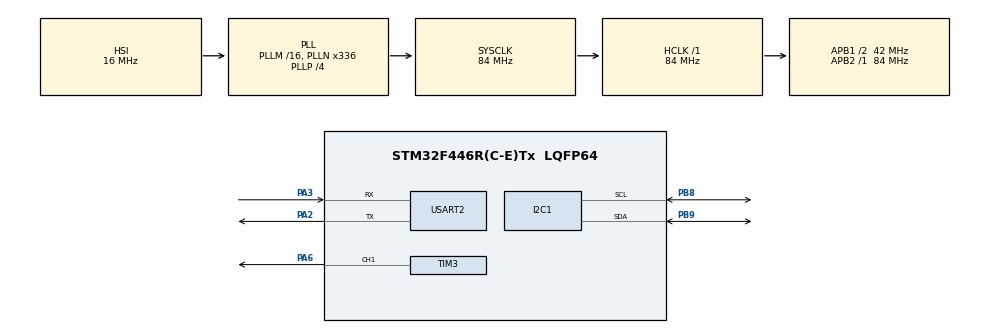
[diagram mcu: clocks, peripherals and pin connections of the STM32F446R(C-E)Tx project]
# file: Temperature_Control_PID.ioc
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Mcu.Family=STM32F4
Mcu.Name=STM32F446R(C-E)Tx
Mcu.Package=LQFP64
NVIC.PriorityGroup=NVIC_PRIORITYGROUP_0
NVIC.USART2_IRQn=true\:0\:0\:false\:false\:true\:true\:true\:true
PA13.Mode=Serial_Wire
PA13.Signal=SYS_JTMS-SWDIO
PA14.Mode=Serial_Wire
PA14.Signal=SYS_JTCK-SWCLK
PA2.Mode=Asynchronous
PA2.Signal=USART2_TX
PA3.Mode=Asynchronous
PA3.Signal=USART2_RX
PA6.Signal=S_TIM3_CH1
PB8.Mode=I2C
PB8.Signal=I2C1_SCL
PB9.Mode=I2C
PB9.Signal=I2C1_SDA
ProjectManager.HeapSize=0x200
ProjectManager.StackSize=0x400
ProjectManager.TargetToolchain=STM32CubeIDE
RCC.48MHZClocksFreq_Value=84000000
RCC.AHBFreq_Value=84000000
RCC.APB1CLKDivider=RCC_HCLK_DIV2
RCC.APB1Freq_Value=42000000
RCC.APB1TimFreq_Value=84000000
RCC.APB2Freq_Value=84000000
RCC.APB2TimFreq_Value=84000000
RCC.CortexFreq_Value=84000000
RCC.FLatency-AdvancedSettings=FLASH_LATENCY_2
RCC.HCLKFreq_Value=84000000
RCC.HSE_VALUE=8000000
RCC.HSI_VALUE=16000000
RCC.PLLN=336
RCC.PLLP=RCC_PLLP_DIV4
RCC.SYSCLKFreq_VALUE=84000000
RCC.SYSCLKSource=RCC_SYSCLKSOURCE_PLLCLK
RCC.USBFreq_Value=168000000
RCC.VCOOutputFreq_Value=336000000
SH.S_TIM3_CH1.0=TIM3_CH1,PWM Generation1 CH1
TIM3.Channel-PWM\ Generation1\ CH1=TIM_CHANNEL_1
TIM3.Period=20000-1
TIM3.Prescaler=84-1
TIM3.Pulse-PWM\ Generation1\ CH1=0
USART2.VirtualMode=VM_ASYNC
board=NUCLEO-F446RE

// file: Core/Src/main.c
/* USER CODE BEGIN Header */
/**
 ******************************************************************************
 * @file           : main.c
 * @brief          : Main program body
 ******************************************************************************
 * @attention
 *
 * Copyright (c) 2026 STMicroelectronics.
 * All rights reserved.
 *
 * This software is licensed under terms that can be found in the LICENSE file
 * in the root directory of this software component.
 * If no LICENSE file comes with this software, it is provided AS-IS.
 *
 ******************************************************************************
 */
/* USER CODE END Header */
#include "main.h"

/* USER CODE BEGIN Includes */
#include "logger.h"
#include "menu.h"
#include "bme280.h"
#include "pid.h"
#include "pid_autotuner.h"
#include "pid_flash_storage.h"
#include <stdio.h>
#include <string.h>
#include <stdlib.h>
/* USER CODE END Includes */

/* USER CODE BEGIN PTD */
typedef enum {
	TEMPERATURE_CONTROL_HEATING = 0, TEMPERATURE_CONTROL_COOLING
} TemperatureControlMode_t;

typedef enum {
	SYSTEM_MODE_STOPPED = 0, SYSTEM_MODE_PID_CONTROL, SYSTEM_MODE_AUTOTUNE
} SystemMode_t;

typedef enum {
	PID_FLASH_ACTION_NONE = 0,
	PID_FLASH_ACTION_SAVE,
	PID_FLASH_ACTION_LOAD,
	PID_FLASH_ACTION_GET,
	PID_FLASH_ACTION_CLEAR
} PendingPIDFlashAction_t;
/* USER CODE END PTD */

/* USER CODE BEGIN PD */
#define TX_BUFFER_SIZE              256
#define RX_BUFFER_SIZE              96

#define CONTROL_PERIOD_MS           1000U

#define DEFAULT_SETPOINT_C          25.0f
#define DEFAULT_KP                  8.0f
#define DEFAULT_KI                  0.05f
#define DEFAULT_KD                  0.0f

#define PID_MIN_OUTPUT              0.0f
#define PID_MAX_OUTPUT              100.0f

#define AUTOTUNE_DEFAULT_CYCLES     6U
#define AUTOTUNE_MIN_CYCLES         3U
#define AUTOTUNE_MAX_CYCLES         30U
#define AUTOTUNE_DEFAULT_MIN_OUTPUT 0.0f
#define AUTOTUNE_DEFAULT_MAX_OUTPUT 100.0f
#define AUTOTUNE_TIMEOUT_MS         600000U
#define AUTOTUNE_MAX_SAFE_TEMP_C    80.0f

#define BME280_DEVICE_ADDRESS       BME280_I2C_ADDR_GND

#define FAN_PWM_TIMER               htim3
#define FAN_PWM_CHANNEL             TIM_CHANNEL_1

#define CMD_SETPOINT_LONG           "SETPOINT:"
#define CMD_SETPOINT_SHORT          "SET_SP:"

#define CMD_KP_LONG                 "KP:"
#define CMD_KP_SHORT                "SET_KP:"

#define CMD_KI_LONG                 "KI:"
#define CMD_KI_SHORT                "SET_KI:"

#define CMD_KD_LONG                 "KD:"
#define CMD_KD_SHORT                "SET_KD:"

#define CMD_START                   "START"
#define CMD_STOP                    "STOP"

#define CMD_MODE_COOLING            "MODE:COOLING"
#define CMD_MODE_HEATING            "MODE:HEATING"

#define CMD_AUTOTUNE_START          "AUTOTUNE_START"
#define CMD_AUTOTUNE_STOP           "AUTOTUNE_STOP"
#define CMD_AUTOTUNE_MODE_BASIC     "AUTOTUNE_MODE:BASIC"
#define CMD_AUTOTUNE_MODE_LESS      "AUTOTUNE_MODE:LESS_OVERSHOOT"
#define CMD_AUTOTUNE_MODE_NO        "AUTOTUNE_MODE:NO_OVERSHOOT"
#define CMD_AUTOTUNE_CYCLES         "AUTOTUNE_CYCLES:"
#define CMD_AUTOTUNE_MIN_OUTPUT     "AUTOTUNE_MIN_OUTPUT:"
#define CMD_AUTOTUNE_MAX_OUTPUT     "AUTOTUNE_MAX_OUTPUT:"

#define CMD_PID_FLASH_SAVE          "SAVE_PID_FLASH"
#define CMD_PID_FLASH_LOAD          "LOAD_PID_FLASH"
#define CMD_PID_FLASH_GET           "GET_PID_FLASH"
#define CMD_PID_FLASH_CLEAR         "CLEAR_PID_FLASH"

/* USER CODE END PD */

I2C_HandleTypeDef hi2c1;

TIM_HandleTypeDef htim3;

UART_HandleTypeDef huart2;

/* USER CODE BEGIN PV */
PID_Controller_t pid;
PIDAutotuner_t pidAutotuner;

BME280_Handle_t bme280;
BME280_Config_t bme280Config;
BME280_Data_t bme280Data;
BME280_Status_t bme280Status;

TemperatureControlMode_t controlMode = TEMPERATURE_CONTROL_COOLING;
SystemMode_t systemMode = SYSTEM_MODE_STOPPED;

PIDAutotuner_ZNMode_t autotuneZNMode = PID_AUTOTUNER_ZN_NO_OVERSHOOT;
uint16_t autotuneTargetCycles = AUTOTUNE_DEFAULT_CYCLES;
float autotuneMinOutput = AUTOTUNE_DEFAULT_MIN_OUTPUT;
float autotuneMaxOutput = AUTOTUNE_DEFAULT_MAX_OUTPUT;
uint32_t autotuneStartTime = 0U;

float temperatureSetPoint = DEFAULT_SETPOINT_C;

float temperature = 0.0f;
float humidity = 0.0f;
float pressure = 0.0f;

char uartTXBuffer[TX_BUFFER_SIZE];

uint8_t rxChar;
char messageBuffer[RX_BUFFER_SIZE];
uint8_t bufferIndex = 0;

volatile uint8_t pidEnabled = 0;
volatile PendingPIDFlashAction_t pendingPIDFlashAction = PID_FLASH_ACTION_NONE;
/* USER CODE END PV */

void SystemClock_Config(void);
static void MX_GPIO_Init(void);
static void MX_USART2_UART_Init(void);
static void MX_I2C1_Init(void);
static void MX_TIM3_Init(void);
/* USER CODE BEGIN PFP */
static void ApplyTemperatureSetPoint(void);
static float GetPIDInputFromTemperature(float measuredTemperature);
static float GetAutotuneInputFromTemperature(float measuredTemperature);
static float GetAutotuneTargetFromSetPoint(void);
static const char* GetControlModeString(void);
static const char* GetAutotuneModeString(void);
static void SetFanPWMPercent(float percent);
static void StartAutotune(void);
static void StopAutotune(void);
static void ApplyAutotuneGainsToPID(void);
static PIDFlashStorage_Mode_t GetFlashStorageModeFromControlMode(void);
static void FillPIDFlashConfigFromCurrentSettings(
		PIDFlashStorage_Config_t *config);
static void ApplyPIDFlashConfigToController(
		const PIDFlashStorage_Config_t *config);
static void RequestPIDFlashAction(PendingPIDFlashAction_t action);
static void ProcessPendingPIDFlashAction(void);
static void SendPIDFlashConfig(const char *state,
		const PIDFlashStorage_Config_t *config);
static void SendPIDFlashStatus(const char *state,
		PIDFlashStorage_Status_t status);
static void SendTelemetry(void);
static void SendAutotuneStatus(void);
static void SendAutotuneDone(void);
static void SendAutotuneStopped(const char *reason);
static void ClearUARTBuffer(void);
static void ProcessUARTCommand(char *command);
/* USER CODE END PFP */

/* USER CODE BEGIN 0 */

static void ApplyTemperatureSetPoint(void) {
	if (controlMode == TEMPERATURE_CONTROL_COOLING) {
		PID_SetPoint(&pid, -temperatureSetPoint);
	} else {
		PID_SetPoint(&pid, temperatureSetPoint);
	}
}

static float GetPIDInputFromTemperature(float measuredTemperature) {
	if (controlMode == TEMPERATURE_CONTROL_COOLING) {
		return -measuredTemperature;
	}

	return measuredTemperature;
}

static float GetAutotuneInputFromTemperature(float measuredTemperature) {
	return GetPIDInputFromTemperature(measuredTemperature);
}

static float GetAutotuneTargetFromSetPoint(void) {
	if (controlMode == TEMPERATURE_CONTROL_COOLING) {
		return -temperatureSetPoint;
	}

	return temperatureSetPoint;
}

static const char* GetControlModeString(void) {
	if (controlMode == TEMPERATURE_CONTROL_COOLING) {
		return "COOLING";
	}

	return "HEATING";
}

static const char* GetAutotuneModeString(void) {
	switch (autotuneZNMode) {
	case PID_AUTOTUNER_ZN_BASIC_PID:
		return "BASIC";

	case PID_AUTOTUNER_ZN_LESS_OVERSHOOT:
		return "LESS_OVERSHOOT";

	case PID_AUTOTUNER_ZN_NO_OVERSHOOT:
	default:
		return "NO_OVERSHOOT";
	}
}

static void SetFanPWMPercent(float percent) {
	if (percent > 100.0f) {
		percent = 100.0f;
	}

	if (percent < 0.0f) {
		percent = 0.0f;
	}

	uint32_t arr = __HAL_TIM_GET_AUTORELOAD(&FAN_PWM_TIMER);
	uint32_t compare = (uint32_t) ((percent / 100.0f) * (float) (arr + 1U));

	if (compare > arr) {
		compare = arr;
	}

	__HAL_TIM_SET_COMPARE(&FAN_PWM_TIMER, FAN_PWM_CHANNEL, compare);
}

static void StartAutotune(void) {
	PIDAutotuner_Status_t autotuneStatus;

	autotuneStatus = PIDAutotuner_Init(&pidAutotuner, autotuneZNMode,
			GetAutotuneTargetFromSetPoint(), autotuneMinOutput,
			autotuneMaxOutput, autotuneTargetCycles,
			(float) CONTROL_PERIOD_MS / 1000.0f);

	if (autotuneStatus != PID_AUTOTUNER_OK) {
		systemMode = SYSTEM_MODE_STOPPED;
		pidEnabled = 0;
		pid.output = 0.0f;
		SetFanPWMPercent(0.0f);
		return;
	}

	pidEnabled = 0;
	systemMode = SYSTEM_MODE_AUTOTUNE;
	PID_Reset(&pid);

	autotuneStartTime = HAL_GetTick();
	PIDAutotuner_Start(&pidAutotuner, autotuneStartTime);

	pid.output = pidAutotuner.outputValue;
	SetFanPWMPercent(pid.output);
}

static void StopAutotune(void) {
	PIDAutotuner_Stop(&pidAutotuner);
	systemMode = SYSTEM_MODE_STOPPED;
	pidEnabled = 0;
	pid.output = 0.0f;
	SetFanPWMPercent(0.0f);
}

static void ApplyAutotuneGainsToPID(void) {
	float tunedKp = PIDAutotuner_GetKp(&pidAutotuner);
	float tunedKi = PIDAutotuner_GetKi(&pidAutotuner);
	float tunedKd = PIDAutotuner_GetKd(&pidAutotuner);

	PID_SetKp(&pid, tunedKp);
	PID_SetKi(&pid, tunedKi);
	PID_SetKd(&pid, tunedKd);
	PID_Reset(&pid);
	ApplyTemperatureSetPoint();
}

static PIDFlashStorage_Mode_t GetFlashStorageModeFromControlMode(void) {
	if (controlMode == TEMPERATURE_CONTROL_COOLING) {
		return PID_FLASH_STORAGE_MODE_COOLING;
	}

	return PID_FLASH_STORAGE_MODE_HEATING;
}

static void FillPIDFlashConfigFromCurrentSettings(
		PIDFlashStorage_Config_t *config) {
	if (config == 0) {
		return;
	}

	config->kp = PID_GetKp(&pid);
	config->ki = PID_GetKi(&pid);
	config->kd = PID_GetKd(&pid);
	config->setpoint = temperatureSetPoint;
	config->mode = (uint32_t) GetFlashStorageModeFromControlMode();
}

static void ApplyPIDFlashConfigToController(
		const PIDFlashStorage_Config_t *config) {
	if (config == 0) {
		return;
	}

	PID_SetKp(&pid, config->kp);
	PID_SetKi(&pid, config->ki);
	PID_SetKd(&pid, config->kd);
	temperatureSetPoint = config->setpoint;

	if (config->mode == PID_FLASH_STORAGE_MODE_COOLING) {
		controlMode = TEMPERATURE_CONTROL_COOLING;
	} else {
		controlMode = TEMPERATURE_CONTROL_HEATING;
	}

	ApplyTemperatureSetPoint();
	PID_Reset(&pid);
}

static void RequestPIDFlashAction(PendingPIDFlashAction_t action) {
	if (pendingPIDFlashAction == PID_FLASH_ACTION_NONE) {
		pendingPIDFlashAction = action;
	}
}

static void SendPIDFlashConfig(const char *state,
		const PIDFlashStorage_Config_t *config) {
	const char *modeString = "HEATING";

	if (config == 0) {
		return;
	}

	if (config->mode == PID_FLASH_STORAGE_MODE_COOLING) {
		modeString = "COOLING";
	}

	snprintf(uartTXBuffer, sizeof(uartTXBuffer),
			"SavedPID: %s Kp: %.6f Ki: %.6f Kd: %.6f SetPoint: %.2f Mode: %s\r\n",
			state, config->kp, config->ki, config->kd, config->setpoint,
			modeString);

	HAL_UART_Transmit(&huart2, (uint8_t*) uartTXBuffer, strlen(uartTXBuffer),
	HAL_MAX_DELAY);
}

static void SendPIDFlashStatus(const char *state,
		PIDFlashStorage_Status_t status) {
	snprintf(uartTXBuffer, sizeof(uartTXBuffer), "SavedPID: %s Status: %s\r\n",
			state, PIDFlashStorage_StatusToString(status));

	HAL_UART_Transmit(&huart2, (uint8_t*) uartTXBuffer, strlen(uartTXBuffer),
	HAL_MAX_DELAY);
}

static void ProcessPendingPIDFlashAction(void) {
	PendingPIDFlashAction_t action = pendingPIDFlashAction;
	PIDFlashStorage_Config_t config;
	PIDFlashStorage_Status_t status;

	if (action == PID_FLASH_ACTION_NONE) {
		return;
	}

	pendingPIDFlashAction = PID_FLASH_ACTION_NONE;

	if ((systemMode == SYSTEM_MODE_AUTOTUNE)
			&& (action != PID_FLASH_ACTION_GET)) {
		snprintf(uartTXBuffer, sizeof(uartTXBuffer),
				"SavedPID: BUSY Reason: AUTOTUNE_RUNNING\r\n");
		HAL_UART_Transmit(&huart2, (uint8_t*) uartTXBuffer,
				strlen(uartTXBuffer),
				HAL_MAX_DELAY);
		return;
	}

	switch (action) {
	case PID_FLASH_ACTION_SAVE:
		FillPIDFlashConfigFromCurrentSettings(&config);
		status = PIDFlashStorage_Save(&config);

		if (status == PID_FLASH_STORAGE_OK) {
			SendPIDFlashConfig("SAVE_OK", &config);
		} else {
			SendPIDFlashStatus("SAVE_ERROR", status);
		}
		break;

	case PID_FLASH_ACTION_LOAD:
		status = PIDFlashStorage_Load(&config);

		if (status == PID_FLASH_STORAGE_OK) {
			ApplyPIDFlashConfigToController(&config);
			SendPIDFlashConfig("LOAD_OK", &config);
		} else if (status == PID_FLASH_STORAGE_EMPTY) {
			SendPIDFlashStatus("EMPTY", status);
		} else {
			SendPIDFlashStatus("LOAD_ERROR", status);
		}
		break;

	case PID_FLASH_ACTION_GET:
		status = PIDFlashStorage_Load(&config);

		if (status == PID_FLASH_STORAGE_OK) {
			SendPIDFlashConfig("VALID", &config);
		} else if (status == PID_FLASH_STORAGE_EMPTY) {
			SendPIDFlashStatus("EMPTY", status);
		} else {
			SendPIDFlashStatus("INVALID", status);
		}
		break;

	case PID_FLASH_ACTION_CLEAR:
		status = PIDFlashStorage_Clear();

		if (status == PID_FLASH_STORAGE_OK) {
			SendPIDFlashStatus("CLEAR_OK", status);
		} else {
			SendPIDFlashStatus("CLEAR_ERROR", status);
		}
		break;

	case PID_FLASH_ACTION_NONE:
	default:
		break;
	}
}

static void SendTelemetry(void) {
	snprintf(uartTXBuffer, sizeof(uartTXBuffer),
			"SetPoint: %.2f Temperature: %.2f PIDOutput: %.2f Humidity: %.2f Pressure: %.2f Mode: %s\r\n",
			temperatureSetPoint, temperature, pid.output, humidity, pressure,
			GetControlModeString());

	HAL_UART_Transmit(&huart2, (uint8_t*) uartTXBuffer, strlen(uartTXBuffer),
	HAL_MAX_DELAY);
}

static void SendAutotuneStatus(void) {
	snprintf(uartTXBuffer, sizeof(uartTXBuffer),
			"Autotune: RUNNING Cycle: %u TargetCycles: %u Temperature: %.2f Output: %.2f Ku: %.6f Tu: %.3f Mode: %s Rule: %s\r\n",
			PIDAutotuner_GetCycleIndex(&pidAutotuner),
			PIDAutotuner_GetTargetCycles(&pidAutotuner), temperature,
			pid.output, PIDAutotuner_GetKu(&pidAutotuner),
			PIDAutotuner_GetTu(&pidAutotuner), GetControlModeString(),
			GetAutotuneModeString());

	HAL_UART_Transmit(&huart2, (uint8_t*) uartTXBuffer, strlen(uartTXBuffer),
	HAL_MAX_DELAY);
}

static void SendAutotuneDone(void) {
	snprintf(uartTXBuffer, sizeof(uartTXBuffer),
			"Autotune: DONE Kp: %.6f Ki: %.6f Kd: %.6f Ku: %.6f Tu: %.3f Rule: %s\r\n",
			PIDAutotuner_GetKp(&pidAutotuner),
			PIDAutotuner_GetKi(&pidAutotuner),
			PIDAutotuner_GetKd(&pidAutotuner),
			PIDAutotuner_GetKu(&pidAutotuner),
			PIDAutotuner_GetTu(&pidAutotuner), GetAutotuneModeString());

	HAL_UART_Transmit(&huart2, (uint8_t*) uartTXBuffer, strlen(uartTXBuffer),
	HAL_MAX_DELAY);
}

static void SendAutotuneStopped(const char *reason) {
	snprintf(uartTXBuffer, sizeof(uartTXBuffer),
			"Autotune: STOPPED Reason: %s\r\n", reason);

	HAL_UART_Transmit(&huart2, (uint8_t*) uartTXBuffer, strlen(uartTXBuffer),
	HAL_MAX_DELAY);
}

static void ClearUARTBuffer(void) {
	bufferIndex = 0;
	memset(messageBuffer, 0, RX_BUFFER_SIZE);
}

static void ProcessUARTCommand(char *command) {
	if (strncmp(command, CMD_SETPOINT_LONG, strlen(CMD_SETPOINT_LONG)) == 0) {
		temperatureSetPoint = atof(command + strlen(CMD_SETPOINT_LONG));
		ApplyTemperatureSetPoint();
		PID_Reset(&pid);
	} else if (strncmp(command, CMD_SETPOINT_SHORT, strlen(CMD_SETPOINT_SHORT))
			== 0) {
		temperatureSetPoint = atof(command + strlen(CMD_SETPOINT_SHORT));
		ApplyTemperatureSetPoint();
		PID_Reset(&pid);
	} else if (strncmp(command, CMD_KP_LONG, strlen(CMD_KP_LONG)) == 0) {
		float userKp = atof(command + strlen(CMD_KP_LONG));
		PID_SetKp(&pid, userKp);
		PID_Reset(&pid);
	} else if (strncmp(command, CMD_KP_SHORT, strlen(CMD_KP_SHORT)) == 0) {
		float userKp = atof(command + strlen(CMD_KP_SHORT));
		PID_SetKp(&pid, userKp);
		PID_Reset(&pid);
	} else if (strncmp(command, CMD_KI_LONG, strlen(CMD_KI_LONG)) == 0) {
		float userKi = atof(command + strlen(CMD_KI_LONG));
		PID_SetKi(&pid, userKi);
		PID_Reset(&pid);
	} else if (strncmp(command, CMD_KI_SHORT, strlen(CMD_KI_SHORT)) == 0) {
		float userKi = atof(command + strlen(CMD_KI_SHORT));
		PID_SetKi(&pid, userKi);
		PID_Reset(&pid);
	} else if (strncmp(command, CMD_KD_LONG, strlen(CMD_KD_LONG)) == 0) {
		float userKd = atof(command + strlen(CMD_KD_LONG));
		PID_SetKd(&pid, userKd);
		PID_Reset(&pid);
	} else if (strncmp(command, CMD_KD_SHORT, strlen(CMD_KD_SHORT)) == 0) {
		float userKd = atof(command + strlen(CMD_KD_SHORT));
		PID_SetKd(&pid, userKd);
		PID_Reset(&pid);
	} else if (strcmp(command, CMD_MODE_COOLING) == 0) {
		if (systemMode == SYSTEM_MODE_AUTOTUNE) {
			StopAutotune();
		}

		controlMode = TEMPERATURE_CONTROL_COOLING;
		ApplyTemperatureSetPoint();
		PID_Reset(&pid);
	} else if (strcmp(command, CMD_MODE_HEATING) == 0) {
		if (systemMode == SYSTEM_MODE_AUTOTUNE) {
			StopAutotune();
		}

		controlMode = TEMPERATURE_CONTROL_HEATING;
		ApplyTemperatureSetPoint();
		PID_Reset(&pid);
	} else if (strcmp(command, CMD_START) == 0) {
		if (systemMode == SYSTEM_MODE_AUTOTUNE) {
			StopAutotune();
		}

		systemMode = SYSTEM_MODE_PID_CONTROL;
		pidEnabled = 1;
		PID_Reset(&pid);
	} else if (strcmp(command, CMD_STOP) == 0) {
		if (systemMode == SYSTEM_MODE_AUTOTUNE) {
			StopAutotune();
		}

		systemMode = SYSTEM_MODE_STOPPED;
		pidEnabled = 0;
		pid.output = 0.0f;
		SetFanPWMPercent(0.0f);
	} else if (strcmp(command, CMD_AUTOTUNE_MODE_BASIC) == 0) {
		autotuneZNMode = PID_AUTOTUNER_ZN_BASIC_PID;
	} else if (strcmp(command, CMD_AUTOTUNE_MODE_LESS) == 0) {
		autotuneZNMode = PID_AUTOTUNER_ZN_LESS_OVERSHOOT;
	} else if (strcmp(command, CMD_AUTOTUNE_MODE_NO) == 0) {
		autotuneZNMode = PID_AUTOTUNER_ZN_NO_OVERSHOOT;
	} else if (strncmp(command, CMD_AUTOTUNE_CYCLES,
			strlen(CMD_AUTOTUNE_CYCLES)) == 0) {
		uint16_t cycles = (uint16_t) atoi(
				command + strlen(CMD_AUTOTUNE_CYCLES));

		if (cycles < AUTOTUNE_MIN_CYCLES) {
			cycles = AUTOTUNE_MIN_CYCLES;
		} else if (cycles > AUTOTUNE_MAX_CYCLES) {
			cycles = AUTOTUNE_MAX_CYCLES;
		}

		autotuneTargetCycles = cycles;
	} else if (strncmp(command, CMD_AUTOTUNE_MIN_OUTPUT,
			strlen(CMD_AUTOTUNE_MIN_OUTPUT)) == 0) {
		float minOutput = atof(command + strlen(CMD_AUTOTUNE_MIN_OUTPUT));

		if (minOutput >= 0.0f && minOutput < autotuneMaxOutput) {
			autotuneMinOutput = minOutput;
		}
	} else if (strncmp(command, CMD_AUTOTUNE_MAX_OUTPUT,
			strlen(CMD_AUTOTUNE_MAX_OUTPUT)) == 0) {
		float maxOutput = atof(command + strlen(CMD_AUTOTUNE_MAX_OUTPUT));

		if (maxOutput <= 100.0f && maxOutput > autotuneMinOutput) {
			autotuneMaxOutput = maxOutput;
		}
	} else if (strcmp(command, CMD_AUTOTUNE_START) == 0) {
		StartAutotune();
	} else if (strcmp(command, CMD_AUTOTUNE_STOP) == 0) {
		StopAutotune();
	} else if (strcmp(command, CMD_PID_FLASH_SAVE) == 0) {
		RequestPIDFlashAction(PID_FLASH_ACTION_SAVE);
	} else if (strcmp(command, CMD_PID_FLASH_LOAD) == 0) {
		RequestPIDFlashAction(PID_FLASH_ACTION_LOAD);
	} else if (strcmp(command, CMD_PID_FLASH_GET) == 0) {
		RequestPIDFlashAction(PID_FLASH_ACTION_GET);
	} else if (strcmp(command, CMD_PID_FLASH_CLEAR) == 0) {
		RequestPIDFlashAction(PID_FLASH_ACTION_CLEAR);
	}
}
/* USER CODE END 0 */

int main(void) {

	/* MCU Configuration--------------------------------------------------------*/

	/* Reset of all peripherals, Initializes the Flash interface and the Systick. */
	HAL_Init();

	/* Configure the system clock */
	SystemClock_Config();

	/* Initialize all configured peripherals */
	MX_GPIO_Init();
	MX_USART2_UART_Init();
	MX_I2C1_Init();
	MX_TIM3_Init();
	/* USER CODE BEGIN 2 */
	loggerInit(LOG_LEVEL_INFO);

	ssd1306_Init();
	LOG_INFO("OLED initialized");

	displayMainMenu(temperatureSetPoint, 0.0f, 0);

	BME280_GetDefaultConfig(&bme280Config);

	bme280Config.mode = BME280_NORMAL_MODE;
	bme280Config.standby_time = BME280_STANDBY_TIME_1000;
	bme280Config.osrs_t = BME280_OVERSAMPLING_2;
	bme280Config.osrs_p = BME280_OVERSAMPLING_1;
	bme280Config.osrs_h = BME280_OVERSAMPLING_1;
	bme280Config.filter = BME280_FILTER_4;

	bme280Status = BME280_InitWithConfig(&bme280, &hi2c1,
	BME280_DEVICE_ADDRESS, &bme280Config);

	if (bme280Status != BME280_OK) {
		LOG_ERROR("BME280 initialization failed. Status: %d", bme280Status);

		ssd1306_Fill(Black);
		ssd1306_SetCursor(0, 0);
		ssd1306_WriteString("BME280 ERROR", Font_7x10, White);
		ssd1306_SetCursor(0, 20);
		ssd1306_WriteString("Check I2C/Addr", Font_7x10, White);
		ssd1306_UpdateScreen();

		Error_Handler();
	}

	LOG_INFO("BME280 initialized");

	PID_Init(&pid,
	DEFAULT_KP,
	DEFAULT_KI,
	DEFAULT_KD, (float) CONTROL_PERIOD_MS / 1000.0f,
	PID_MIN_OUTPUT,
	PID_MAX_OUTPUT);

	ApplyTemperatureSetPoint();

	HAL_TIM_PWM_Start(&FAN_PWM_TIMER, FAN_PWM_CHANNEL);
	SetFanPWMPercent(0.0f);

	HAL_UART_Receive_IT(&huart2, &rxChar, 1);

	uint32_t lastControlTime = HAL_GetTick();

	LOG_INFO("PID fan temperature controller started in %s mode",
			GetControlModeString());
	/* USER CODE END 2 */

	/* Infinite loop */
	while (1) {

		/* USER CODE BEGIN 3 */
		ProcessPendingPIDFlashAction();

		uint32_t currentTime = HAL_GetTick();

		if (currentTime - lastControlTime >= CONTROL_PERIOD_MS) {
			bme280Status = BME280_ReadSensorData(&bme280, &bme280Data);

			if (bme280Status == BME280_OK) {
				temperature = bme280Data.temperature;
				humidity = bme280Data.humidity;
				pressure = bme280Data.pressure;

				if (systemMode == SYSTEM_MODE_PID_CONTROL) {
					float pidInput = GetPIDInputFromTemperature(temperature);
					pid.output = PID_Compute(&pid, pidInput);
				} else if (systemMode == SYSTEM_MODE_AUTOTUNE) {
					if ((controlMode == TEMPERATURE_CONTROL_HEATING)
							&& (temperature >= AUTOTUNE_MAX_SAFE_TEMP_C)) {
						StopAutotune();
						SendAutotuneStopped("MAX_TEMPERATURE");
					} else if ((currentTime - autotuneStartTime)
							>= AUTOTUNE_TIMEOUT_MS) {
						StopAutotune();
						SendAutotuneStopped("TIMEOUT");
					} else {
						float autotuneInput = GetAutotuneInputFromTemperature(
								temperature);
						pid.output = PIDAutotuner_Run(&pidAutotuner,
								autotuneInput, currentTime);

						if (PIDAutotuner_IsFinished(&pidAutotuner)) {
							ApplyAutotuneGainsToPID();
							systemMode = SYSTEM_MODE_PID_CONTROL;
							pidEnabled = 1;
							pid.output = 0.0f;
							SendAutotuneDone();
						}
					}
				} else {
					pid.output = 0.0f;
				}

				SetFanPWMPercent(pid.output);

				uint8_t pwmPercent = (uint8_t) (pid.output + 0.5f);

				displayMainMenu(temperatureSetPoint, temperature, pwmPercent);

				SendTelemetry();

				if (systemMode == SYSTEM_MODE_AUTOTUNE) {
					SendAutotuneStatus();
				}

				LOG_INFO(
						"Mode: %s | SP: %.2f C | Temp: %.2f C | Fan PWM: %.2f %% | Hum: %.2f %% | Press: %.2f hPa",
						GetControlModeString(), temperatureSetPoint,
						temperature, pid.output, humidity, pressure);
			} else {
				pid.output = 0.0f;
				SetFanPWMPercent(0.0f);

				if (systemMode == SYSTEM_MODE_AUTOTUNE) {
					StopAutotune();
					SendAutotuneStopped("SENSOR_ERROR");
				}

				LOG_ERROR("BME280 read failed. Status: %d", bme280Status);
			}

			lastControlTime = currentTime;
		}

		HAL_Delay(5);
	}
	/* USER CODE END 3 */
}

void SystemClock_Config(void) {
	RCC_OscInitTypeDef RCC_OscInitStruct = { 0 };
	RCC_ClkInitTypeDef RCC_ClkInitStruct = { 0 };

	/** Configure the main internal regulator output voltage
	 */
	__HAL_RCC_PWR_CLK_ENABLE();
	__HAL_PWR_VOLTAGESCALING_CONFIG(PWR_REGULATOR_VOLTAGE_SCALE3);

	/** Initializes the RCC Oscillators according to the specified parameters
	 * in the RCC_OscInitTypeDef structure.
	 */
	RCC_OscInitStruct.OscillatorType = RCC_OSCILLATORTYPE_HSI;
	RCC_OscInitStruct.HSIState = RCC_HSI_ON;
	RCC_OscInitStruct.HSICalibrationValue = RCC_HSICALIBRATION_DEFAULT;
	RCC_OscInitStruct.PLL.PLLState = RCC_PLL_ON;
	RCC_OscInitStruct.PLL.PLLSource = RCC_PLLSOURCE_HSI;
	RCC_OscInitStruct.PLL.PLLM = 16;
	RCC_OscInitStruct.PLL.PLLN = 336;
	RCC_OscInitStruct.PLL.PLLP = RCC_PLLP_DIV4;
	RCC_OscInitStruct.PLL.PLLQ = 2;
	RCC_OscInitStruct.PLL.PLLR = 2;
	if (HAL_RCC_OscConfig(&RCC_OscInitStruct) != HAL_OK) {
		Error_Handler();
	}

	/** Initializes the CPU, AHB and APB buses clocks
	 */
	RCC_ClkInitStruct.ClockType = RCC_CLOCKTYPE_HCLK | RCC_CLOCKTYPE_SYSCLK
			| RCC_CLOCKTYPE_PCLK1 | RCC_CLOCKTYPE_PCLK2;
	RCC_ClkInitStruct.SYSCLKSource = RCC_SYSCLKSOURCE_PLLCLK;
	RCC_ClkInitStruct.AHBCLKDivider = RCC_SYSCLK_DIV1;
	RCC_ClkInitStruct.APB1CLKDivider = RCC_HCLK_DIV2;
	RCC_ClkInitStruct.APB2CLKDivider = RCC_HCLK_DIV1;

	if (HAL_RCC_ClockConfig(&RCC_ClkInitStruct, FLASH_LATENCY_2) != HAL_OK) {
		Error_Handler();
	}
}

static void MX_I2C1_Init(void) {

	hi2c1.Instance = I2C1;
	hi2c1.Init.ClockSpeed = 100000;
	hi2c1.Init.DutyCycle = I2C_DUTYCYCLE_2;
	hi2c1.Init.OwnAddress1 = 0;
	hi2c1.Init.AddressingMode = I2C_ADDRESSINGMODE_7BIT;
	hi2c1.Init.DualAddressMode = I2C_DUALADDRESS_DISABLE;
	hi2c1.Init.OwnAddress2 = 0;
	hi2c1.Init.GeneralCallMode = I2C_GENERALCALL_DISABLE;
	hi2c1.Init.NoStretchMode = I2C_NOSTRETCH_DISABLE;
	if (HAL_I2C_Init(&hi2c1) != HAL_OK) {
		Error_Handler();
	}

}

static void MX_TIM3_Init(void) {

	TIM_MasterConfigTypeDef sMasterConfig = { 0 };
	TIM_OC_InitTypeDef sConfigOC = { 0 };

	htim3.Instance = TIM3;
	htim3.Init.Prescaler = 84 - 1;
	htim3.Init.CounterMode = TIM_COUNTERMODE_UP;
	htim3.Init.Period = 20000 - 1;
	htim3.Init.ClockDivision = TIM_CLOCKDIVISION_DIV1;
	htim3.Init.AutoReloadPreload = TIM_AUTORELOAD_PRELOAD_DISABLE;
	if (HAL_TIM_PWM_Init(&htim3) != HAL_OK) {
		Error_Handler();
	}
	sMasterConfig.MasterOutputTrigger = TIM_TRGO_RESET;
	sMasterConfig.MasterSlaveMode = TIM_MASTERSLAVEMODE_DISABLE;
	if (HAL_TIMEx_MasterConfigSynchronization(&htim3, &sMasterConfig)
			!= HAL_OK) {
		Error_Handler();
	}
	sConfigOC.OCMode = TIM_OCMODE_PWM1;
	sConfigOC.Pulse = 0;
	sConfigOC.OCPolarity = TIM_OCPOLARITY_HIGH;
	sConfigOC.OCFastMode = TIM_OCFAST_DISABLE;
	if (HAL_TIM_PWM_ConfigChannel(&htim3, &sConfigOC, TIM_CHANNEL_1)
			!= HAL_OK) {
		Error_Handler();
	}
	HAL_TIM_MspPostInit(&htim3);

}

static void MX_USART2_UART_Init(void) {

	huart2.Instance = USART2;
	huart2.Init.BaudRate = 115200;
	huart2.Init.WordLength = UART_WORDLENGTH_8B;
	huart2.Init.StopBits = UART_STOPBITS_1;
	huart2.Init.Parity = UART_PARITY_NONE;
	huart2.Init.Mode = UART_MODE_TX_RX;
	huart2.Init.HwFlowCtl = UART_HWCONTROL_NONE;
	huart2.Init.OverSampling = UART_OVERSAMPLING_16;
	if (HAL_UART_Init(&huart2) != HAL_OK) {
		Error_Handler();
	}

}

static void MX_GPIO_Init(void) {

	/* GPIO Ports Clock Enable */
	__HAL_RCC_GPIOA_CLK_ENABLE();
	__HAL_RCC_GPIOB_CLK_ENABLE();

}

/* USER CODE BEGIN 4 */
void HAL_UART_RxCpltCallback(UART_HandleTypeDef *huart) {
	if (huart->Instance == USART2) {

		if (rxChar == '\r' || rxChar == '\n') {
			if (bufferIndex > 0) {
				messageBuffer[bufferIndex] = '\0';
				ProcessUARTCommand(messageBuffer);
			}

			ClearUARTBuffer();
		} else {
			if (bufferIndex < RX_BUFFER_SIZE - 1) {
				messageBuffer[bufferIndex++] = (char) rxChar;
				messageBuffer[bufferIndex] = '\0';
			} else {
				ClearUARTBuffer();
			}
		}

		HAL_UART_Receive_IT(&huart2, &rxChar, 1);
	}
}
/* USER CODE END 4 */

void Error_Handler(void) {
	__disable_irq();
	while (1) {
	}
}
